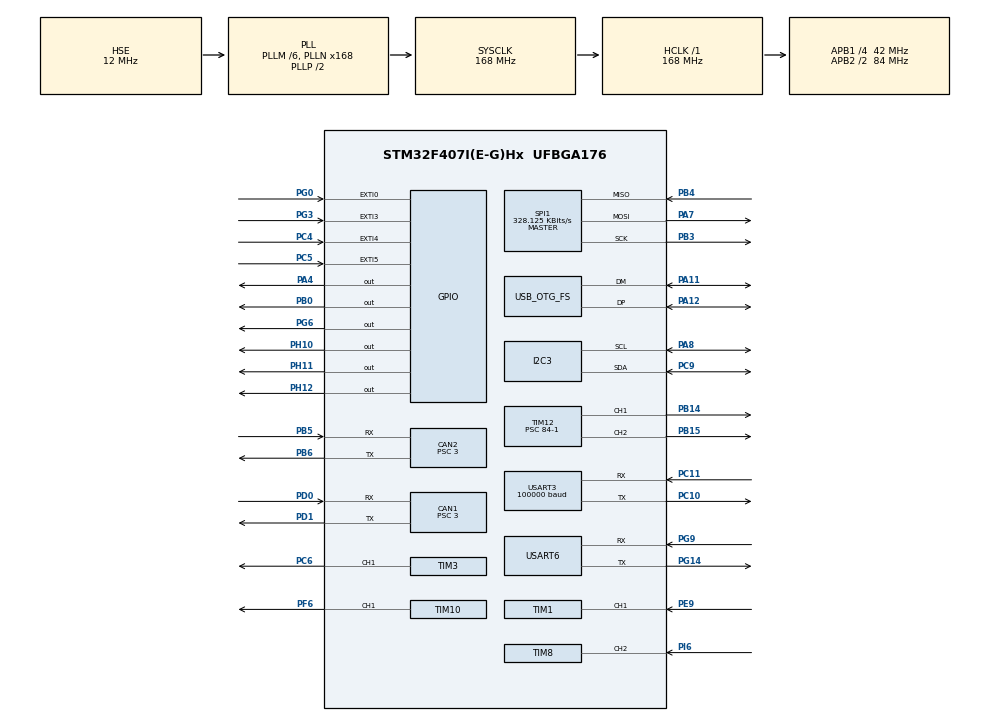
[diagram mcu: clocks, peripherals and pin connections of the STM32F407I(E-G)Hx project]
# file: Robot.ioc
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CAN1.BS1=CAN_BS1_10TQ
CAN1.BS2=CAN_BS2_3TQ
CAN1.CalculateBaudRate=1000000
CAN1.CalculateTimeBit=999.99
CAN1.CalculateTimeQuantum=71.42857142857143
CAN1.Prescaler=3
CAN1.SJW=CAN_SJW_1TQ
CAN2.BS1=CAN_BS1_10TQ
CAN2.BS2=CAN_BS2_3TQ
CAN2.CalculateBaudRate=1000000
CAN2.CalculateTimeBit=999.99
CAN2.CalculateTimeQuantum=71.42857142857143
CAN2.Prescaler=3
Dma.Request0=SPI1_RX
Dma.Request1=SPI1_TX
Dma.Request2=USART3_RX
Dma.Request3=USART6_RX
Dma.Request4=USART6_TX
Dma.SPI1_RX.0.Direction=DMA_PERIPH_TO_MEMORY
Dma.SPI1_RX.0.FIFOMode=DMA_FIFOMODE_DISABLE
Dma.SPI1_RX.0.Instance=DMA2_Stream2
Dma.SPI1_RX.0.MemDataAlignment=DMA_MDATAALIGN_BYTE
Dma.SPI1_RX.0.MemInc=DMA_MINC_ENABLE
Dma.SPI1_RX.0.Mode=DMA_NORMAL
Dma.SPI1_RX.0.PeriphDataAlignment=DMA_PDATAALIGN_BYTE
Dma.SPI1_RX.0.PeriphInc=DMA_PINC_DISABLE
Dma.SPI1_RX.0.Priority=DMA_PRIORITY_VERY_HIGH
Dma.SPI1_TX.1.Direction=DMA_MEMORY_TO_PERIPH
Dma.SPI1_TX.1.FIFOMode=DMA_FIFOMODE_DISABLE
Dma.SPI1_TX.1.Instance=DMA2_Stream3
Dma.SPI1_TX.1.MemDataAlignment=DMA_MDATAALIGN_BYTE
Dma.SPI1_TX.1.MemInc=DMA_MINC_ENABLE
Dma.SPI1_TX.1.Mode=DMA_NORMAL
Dma.SPI1_TX.1.PeriphDataAlignment=DMA_PDATAALIGN_BYTE
Dma.SPI1_TX.1.PeriphInc=DMA_PINC_DISABLE
Dma.SPI1_TX.1.Priority=DMA_PRIORITY_HIGH
Dma.USART3_RX.2.Direction=DMA_PERIPH_TO_MEMORY
Dma.USART3_RX.2.FIFOMode=DMA_FIFOMODE_DISABLE
Dma.USART3_RX.2.Instance=DMA1_Stream1
Dma.USART3_RX.2.MemDataAlignment=DMA_MDATAALIGN_BYTE
Dma.USART3_RX.2.MemInc=DMA_MINC_ENABLE
Dma.USART3_RX.2.Mode=DMA_NORMAL
Dma.USART3_RX.2.PeriphDataAlignment=DMA_PDATAALIGN_BYTE
Dma.USART3_RX.2.PeriphInc=DMA_PINC_DISABLE
Dma.USART3_RX.2.Priority=DMA_PRIORITY_LOW
Dma.USART6_RX.3.Direction=DMA_PERIPH_TO_MEMORY
Dma.USART6_RX.3.FIFOMode=DMA_FIFOMODE_DISABLE
Dma.USART6_RX.3.Instance=DMA2_Stream1
Dma.USART6_RX.3.MemDataAlignment=DMA_MDATAALIGN_BYTE
Dma.USART6_RX.3.MemInc=DMA_MINC_ENABLE
Dma.USART6_RX.3.Mode=DMA_NORMAL
Dma.USART6_RX.3.PeriphDataAlignment=DMA_PDATAALIGN_BYTE
Dma.USART6_RX.3.PeriphInc=DMA_PINC_DISABLE
Dma.USART6_RX.3.Priority=DMA_PRIORITY_HIGH
Dma.USART6_TX.4.Direction=DMA_MEMORY_TO_PERIPH
Dma.USART6_TX.4.FIFOMode=DMA_FIFOMODE_DISABLE
Dma.USART6_TX.4.Instance=DMA2_Stream6
Dma.USART6_TX.4.MemDataAlignment=DMA_MDATAALIGN_BYTE
Dma.USART6_TX.4.MemInc=DMA_MINC_ENABLE
Dma.USART6_TX.4.Mode=DMA_NORMAL
Dma.USART6_TX.4.PeriphDataAlignment=DMA_PDATAALIGN_BYTE
Dma.USART6_TX.4.PeriphInc=DMA_PINC_DISABLE
Dma.USART6_TX.4.Priority=DMA_PRIORITY_LOW
FREERTOS.INCLUDE_eTaskGetState=1
FREERTOS.INCLUDE_pcTaskGetTaskName=1
FREERTOS.INCLUDE_uxTaskGetStackHighWaterMark=1
FREERTOS.INCLUDE_vTaskCleanUpResources=1
FREERTOS.INCLUDE_vTaskDelayUntil=1
FREERTOS.INCLUDE_xEventGroupSetBitFromISR=1
FREERTOS.INCLUDE_xQueueGetMutexHolder=1
FREERTOS.INCLUDE_xSemaphoreGetMutexHolder=1
FREERTOS.INCLUDE_xTaskAbortDelay=1
FREERTOS.INCLUDE_xTaskGetCurrentTaskHandle=1
FREERTOS.INCLUDE_xTaskGetHandle=1
FREERTOS.INCLUDE_xTimerPendFunctionCall=1
FREERTOS.Tasks01=INS_TASK,3,2560,INS_Task,As weak,NULL,Dynamic,NULL,NULL;LED_TASK,0,128,LED_Task,As weak,NULL,Dynamic,NULL,NULL;Chassis_TASK,1,512,Chassis_Task,As weak,NULL,Dynamic,NULL,NULL;Gimbal_TASK,2,512,Gimbal_Task,As weak,NULL,Dynamic,NULL,NULL;Shoot_TASK,0,512,Shoot_Task,As weak,NULL,Dynamic,NULL,NULL
FREERTOS.configTOTAL_HEAP_SIZE=24576
FREERTOS.configUSE_TIMERS=1
I2C3.I2C_Mode=I2C_Fast
Mcu.Family=STM32F4
Mcu.Name=STM32F407I(E-G)Hx
Mcu.Package=UFBGA176
NVIC.CAN1_RX0_IRQn=true\:5\:0\:false\:false\:true\:true\:true\:true
NVIC.CAN2_RX0_IRQn=true\:5\:0\:false\:false\:true\:true\:true\:true
NVIC.DMA1_Stream1_IRQn=true\:5\:0\:false\:false\:true\:true\:false\:true
NVIC.DMA2_Stream1_IRQn=true\:5\:0\:false\:false\:true\:true\:false\:true
NVIC.DMA2_Stream2_IRQn=true\:5\:0\:false\:false\:true\:true\:false\:true
NVIC.DMA2_Stream3_IRQn=true\:5\:0\:false\:false\:true\:true\:false\:true
NVIC.DMA2_Stream6_IRQn=true\:5\:0\:false\:false\:true\:true\:false\:true
NVIC.EXTI0_IRQn=true\:5\:0\:false\:false\:true\:true\:true\:true
NVIC.EXTI3_IRQn=true\:5\:0\:false\:false\:true\:true\:true\:true
NVIC.EXTI4_IRQn=true\:5\:0\:false\:false\:true\:true\:true\:true
NVIC.EXTI9_5_IRQn=true\:5\:0\:false\:false\:true\:true\:true\:true
NVIC.OTG_FS_IRQn=true\:5\:0\:false\:false\:true\:true\:false\:true
NVIC.PriorityGroup=NVIC_PRIORITYGROUP_4
NVIC.TIM2_IRQn=true\:15\:0\:false\:false\:true\:false\:false\:true
NVIC.TIM8_TRG_COM_TIM14_IRQn=true\:5\:0\:false\:false\:true\:true\:true\:true
NVIC.TimeBase=TIM2_IRQn
NVIC.TimeBaseIP=TIM2
NVIC.USART3_IRQn=true\:5\:0\:false\:false\:true\:true\:true\:true
NVIC.USART6_IRQn=true\:5\:0\:false\:false\:true\:true\:true\:true
PA11.Mode=Device_Only
PA11.Signal=USB_OTG_FS_DM
PA12.Mode=Device_Only
PA12.Signal=USB_OTG_FS_DP
PA13.Mode=Serial_Wire
PA13.Signal=SYS_JTMS-SWDIO
PA14.Mode=Serial_Wire
PA14.Signal=SYS_JTCK-SWCLK
PA4.GPIO_PuPd=GPIO_PULLUP
PA4.GPIO_Speed=GPIO_SPEED_FREQ_HIGH
PA4.PinState=GPIO_PIN_SET
PA4.Signal=GPIO_Output
PA7.GPIO_Mode=GPIO_MODE_AF_PP
PA7.GPIO_PuPd=GPIO_PULLUP
PA7.GPIO_Speed=GPIO_SPEED_FREQ_VERY_HIGH
PA7.Mode=Full_Duplex_Master
PA7.Signal=SPI1_MOSI
PA8.GPIO_Mode=GPIO_MODE_AF_OD
PA8.GPIO_Pu=GPIO_PULLUP
PA8.GPIO_Speed=GPIO_SPEED_FREQ_VERY_HIGH
PA8.Mode=I2C
PA8.Signal=I2C3_SCL
PB0.GPIO_ModeDefaultOutputPP=GPIO_MODE_OUTPUT_PP
PB0.GPIO_PuPd=GPIO_PULLUP
PB0.GPIO_Speed=GPIO_SPEED_FREQ_HIGH
PB0.PinState=GPIO_PIN_SET
PB0.Signal=GPIO_Output
PB14.GPIO_ModeDefaultPP=GPIO_MODE_AF_PP
PB14.GPIO_PuPd=GPIO_PULLUP
PB14.GPIO_Speed=GPIO_SPEED_FREQ_VERY_HIGH
PB14.Signal=S_TIM12_CH1
PB15.GPIO_ModeDefaultPP=GPIO_MODE_AF_PP
PB15.GPIO_PuPd=GPIO_PULLUP
PB15.GPIO_Speed=GPIO_SPEED_FREQ_VERY_HIGH
PB15.Signal=S_TIM12_CH2
PB3.GPIO_Mode=GPIO_MODE_AF_PP
PB3.GPIO_PuPd=GPIO_PULLUP
PB3.GPIO_Speed=GPIO_SPEED_FREQ_VERY_HIGH
PB3.Mode=Full_Duplex_Master
PB3.Signal=SPI1_SCK
PB4.GPIO_Mode=GPIO_MODE_AF_PP
PB4.GPIO_PuPd=GPIO_PULLUP
PB4.GPIO_Speed=GPIO_SPEED_FREQ_VERY_HIGH
PB4.Mode=Full_Duplex_Master
PB4.Signal=SPI1_MISO
PB5.Mode=CAN_Activate
PB5.Signal=CAN2_RX
PB6.Mode=CAN_Activate
PB6.Signal=CAN2_TX
PC10.GPIO_ModeDefaultPP=GPIO_MODE_AF_PP
PC10.GPIO_PuPd=GPIO_PULLUP
PC10.GPIO_Speed=GPIO_SPEED_FREQ_VERY_HIGH
PC10.Mode=Asynchronous
PC10.Signal=USART3_TX
PC11.GPIO_ModeDefaultPP=GPIO_MODE_AF_PP
PC11.GPIO_PuPd=GPIO_PULLUP
PC11.GPIO_Speed=GPIO_SPEED_FREQ_VERY_HIGH
PC11.Mode=Asynchronous
PC11.Signal=USART3_RX
PC4.GPIO_ModeDefaultEXTI=GPIO_MODE_IT_FALLING
PC4.GPIO_PuPd=GPIO_PULLUP
PC4.Signal=GPXTI4
PC5.GPIO_ModeDefaultEXTI=GPIO_MODE_IT_FALLING
PC5.GPIO_PuPd=GPIO_PULLUP
PC5.Signal=GPXTI5
PC6.GPIO_ModeDefaultPP=GPIO_MODE_AF_PP
PC6.GPIO_PuPd=GPIO_PULLUP
PC6.GPIO_Speed=GPIO_SPEED_FREQ_VERY_HIGH
PC6.Signal=S_TIM3_CH1
PC9.GPIO_Mode=GPIO_MODE_AF_OD
PC9.GPIO_Pu=GPIO_PULLUP
PC9.GPIO_Speed=GPIO_SPEED_FREQ_VERY_HIGH
PC9.Mode=I2C
PC9.Signal=I2C3_SDA
PD0.Mode=CAN_Activate
PD0.Signal=CAN1_RX
PD1.Mode=CAN_Activate
PD1.Signal=CAN1_TX
PE11.GPIO_ModeDefaultPP=GPIO_MODE_AF_PP
PE11.GPIO_PuPd=GPIO_PULLUP
PE11.GPIO_Speed=GPIO_SPEED_FREQ_VERY_HIGH
PE11.Signal=S_TIM1_CH2
PE9.GPIO_PuPd=GPIO_PULLUP
PE9.GPIO_Speed=GPIO_SPEED_FREQ_VERY_HIGH
PE9.Signal=S_TIM1_CH1
PF6.GPIO_PuPd=GPIO_PULLUP
PF6.GPIO_Speed=GPIO_SPEED_FREQ_VERY_HIGH
PF6.Signal=S_TIM10_CH1
PG0.GPIO_ModeDefaultEXTI=GPIO_MODE_IT_FALLING
PG0.GPIO_PuPd=GPIO_PULLUP
PG0.Signal=GPXTI0
PG14.GPIO_ModeDefaultPP=GPIO_MODE_AF_PP
PG14.GPIO_PuPd=GPIO_PULLUP
PG14.GPIO_Speed=GPIO_SPEED_FREQ_VERY_HIGH
PG14.Mode=Asynchronous
PG14.Signal=USART6_TX
PG3.GPIO_ModeDefaultEXTI=GPIO_MODE_IT_FALLING
PG3.GPIO_PuPd=GPIO_PULLUP
PG3.Signal=GPXTI3
PG6.GPIO_ModeDefaultOutputPP=GPIO_MODE_OUTPUT_PP
PG6.GPIO_PuPd=GPIO_PULLUP
PG6.GPIO_Speed=GPIO_SPEED_FREQ_HIGH
PG6.PinState=GPIO_PIN_SET
PG6.Signal=GPIO_Output
PG9.GPIO_ModeDefaultPP=GPIO_MODE_AF_PP
PG9.GPIO_PuPd=GPIO_PULLUP
PG9.GPIO_Speed=GPIO_SPEED_FREQ_VERY_HIGH
PG9.Mode=Asynchronous
PG9.Signal=USART6_RX
PH0-OSC_IN.Mode=HSE-External-Oscillator
PH0-OSC_IN.Signal=RCC_OSC_IN
PH1-OSC_OUT.Mode=HSE-External-Oscillator
PH1-OSC_OUT.Signal=RCC_OSC_OUT
PH10.GPIO_ModeDefaultOutputPP=GPIO_MODE_OUTPUT_PP
PH10.GPIO_PuPd=GPIO_PULLDOWN
PH10.GPIO_Speed=GPIO_SPEED_FREQ_VERY_HIGH
PH10.PinState=GPIO_PIN_RESET
PH10.Signal=GPIO_Output
PH11.GPIO_ModeDefaultOutputPP=GPIO_MODE_OUTPUT_PP
PH11.GPIO_PuPd=GPIO_PULLDOWN
PH11.GPIO_Speed=GPIO_SPEED_FREQ_VERY_HIGH
PH11.PinState=GPIO_PIN_RESET
PH11.Signal=GPIO_Output
PH12.GPIO_ModeDefaultOutputPP=GPIO_MODE_OUTPUT_PP
PH12.GPIO_PuPd=GPIO_PULLDOWN
PH12.GPIO_Speed=GPIO_SPEED_FREQ_VERY_HIGH
PH12.PinState=GPIO_PIN_RESET
PH12.Signal=GPIO_Output
PI6.GPIO_PuPd=GPIO_PULLUP
PI6.GPIO_Speed=GPIO_SPEED_FREQ_VERY_HIGH
PI6.Signal=S_TIM8_CH2
ProjectManager.HeapSize=0x2000
ProjectManager.StackSize=0x2000
ProjectManager.TargetToolchain=MDK-ARM V5
RCC.48MHZClocksFreq_Value=48000000
RCC.AHBFreq_Value=168000000
RCC.APB1CLKDivider=RCC_HCLK_DIV4
RCC.APB1Freq_Value=42000000
RCC.APB1TimFreq_Value=84000000
RCC.APB2CLKDivider=RCC_HCLK_DIV2
RCC.APB2Freq_Value=84000000
RCC.APB2TimFreq_Value=168000000
RCC.CortexFreq_Value=168000000
RCC.HCLKFreq_Value=168000000
RCC.HSE_VALUE=12000000
RCC.HSI_VALUE=16000000
RCC.LSE_VALUE=32768
RCC.PLLM=6
RCC.PLLN=168
RCC.PLLQ=7
RCC.SYSCLKFreq_VALUE=168000000
RCC.SYSCLKSource=RCC_SYSCLKSOURCE_PLLCLK
RCC.VCOOutputFreq_Value=336000000
SH.S_TIM10_CH1.0=TIM10_CH1,PWM Generation1 CH1
SH.S_TIM12_CH1.0=TIM12_CH1,PWM Generation1 CH1
SH.S_TIM12_CH2.0=TIM12_CH2,PWM Generation2 CH2
SH.S_TIM1_CH1.0=TIM1_CH1,TriggerSource_TI1FP1
SH.S_TIM1_CH2.0=TIM1_CH2
SH.S_TIM3_CH1.0=TIM3_CH1,PWM Generation1 CH1
SH.S_TIM8_CH2.0=TIM8_CH2,TriggerSource_TI2FP2
SPI1.BaudRatePrescaler=SPI_BAUDRATEPRESCALER_256
SPI1.CLKPhase=SPI_PHASE_2EDGE
SPI1.CLKPolarity=SPI_POLARITY_HIGH
SPI1.CalculateBaudRate=328.125 KBits/s
SPI1.Direction=SPI_DIRECTION_2LINES
SPI1.Mode=SPI_MODE_MASTER
SPI1.VirtualType=VM_MASTER
TIM10.Channel=TIM_CHANNEL_1
TIM10.Period=4999
TIM12.Channel-PWM\ Generation1\ CH1=TIM_CHANNEL_1
TIM12.Channel-PWM\ Generation2\ CH2=TIM_CHANNEL_2
TIM12.Period=20000-1
TIM12.Prescaler=84-1
TIM14.Period=2000-1
TIM14.Prescaler=84-1
TIM3.Channel-PWM\ Generation1\ CH1=TIM_CHANNEL_1
TIM3.Period=20000-1
TIM3.Prescaler=84-1
USART3.BaudRate=100000
USART3.VirtualMode=VM_ASYNC
USART6.VirtualMode=VM_ASYNC
USB_DEVICE.CLASS_NAME_FS=CDC
USB_DEVICE.VirtualMode-CDC_FS=Cdc
USB_DEVICE.VirtualModeFS=Cdc_FS
USB_OTG_FS.VirtualMode=Device_Only
VP_FREERTOS_VS_CMSIS_V1.Mode=CMSIS_V1
VP_SYS_VS_tim2.Mode=TIM2
VP_TIM10_VS_ClockSourceINT.Mode=Enable_Timer
VP_TIM12_VS_ClockSourceINT.Mode=Internal
VP_TIM14_VS_ClockSourceINT.Mode=Enable_Timer
VP_TIM1_VS_ControllerModeClock.Mode=Clock Mode
VP_TIM3_VS_ClockSourceINT.Mode=Internal
VP_TIM8_VS_ControllerModeClock.Mode=Clock Mode
VP_USB_DEVICE_VS_USB_DEVICE_CDC_FS.Mode=CDC_FS
board=custom

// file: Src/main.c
/* USER CODE BEGIN Header */
/**
  ******************************************************************************
  * @file           : main.c
  * @brief          : Main program body
  ******************************************************************************
  * @attention
  *
  * <h2><center>&copy; Copyright (c) 2021 STMicroelectronics.
  * All rights reserved.</center></h2>
  *
  * This software component is licensed by ST under Ultimate Liberty license
  * SLA0044, the "License"; You may not use this file except in compliance with
  * the License. You may obtain a copy of the License at:
  *                             www.st.com/SLA0044
  *
  ******************************************************************************
  */
/* USER CODE END Header */
#include "main.h"
#include "cmsis_os.h"
#include "can.h"
#include "dma.h"
#include "i2c.h"
#include "spi.h"
#include "tim.h"
#include "usart.h"
#include "usb_device.h"
#include "gpio.h"

/* USER CODE BEGIN Includes */
#include "bsp_delay.h"
#include "remote_control.h"
#include "bsp_can.h"
#include "bsp_tim.h"
#include "auto_aim.h"
/* USER CODE END Includes */

void SystemClock_Config(void);
void MX_FREERTOS_Init(void);

int main(void)
{

  /* MCU Configuration--------------------------------------------------------*/

  /* Reset of all peripherals, Initializes the Flash interface and the Systick. */
  HAL_Init();

  /* Configure the system clock */
  SystemClock_Config();

  /* Initialize all configured peripherals */
  MX_GPIO_Init();
  MX_DMA_Init();
  MX_I2C3_Init();
  MX_SPI1_Init();
  MX_TIM10_Init();
  MX_USART3_UART_Init();
  MX_CAN1_Init();
  MX_CAN2_Init();
  MX_TIM1_Init();
  MX_TIM3_Init();
  MX_TIM8_Init();
  MX_TIM12_Init();
  MX_TIM14_Init();
  MX_USART6_UART_Init();
  /* USER CODE BEGIN 2 */
	MX_USB_DEVICE_Init();
	HAL_TIM_Base_Start(&htim1);
	HAL_TIM_Base_Start(&htim8);
	HAL_TIM_Base_Start_IT(&htim14);
	HAL_TIM_PWM_Start(&htim3, TIM_CHANNEL_1);
	HAL_TIM_PWM_Start(&htim10, TIM_CHANNEL_1);
	HAL_TIM_PWM_Start(&htim12, TIM_CHANNEL_1);
	HAL_TIM_PWM_Start(&htim12, TIM_CHANNEL_2);

	can_filter_init();
	delay_init();
	remote_control_init();
	Auto_Aim_Init();

  /* USER CODE END 2 */

  /* Call init function for freertos objects (in freertos.c) */
  MX_FREERTOS_Init();
  /* Start scheduler */
  osKernelStart();

  /* We should never get here as control is now taken by the scheduler */
  /* Infinite loop */
  while (1)
  {

  }
}

void SystemClock_Config(void)
{
  RCC_OscInitTypeDef RCC_OscInitStruct = {0};
  RCC_ClkInitTypeDef RCC_ClkInitStruct = {0};

  /** Configure the main internal regulator output voltage
  */
  __HAL_RCC_PWR_CLK_ENABLE();
  __HAL_PWR_VOLTAGESCALING_CONFIG(PWR_REGULATOR_VOLTAGE_SCALE1);
  /** Initializes the RCC Oscillators according to the specified parameters
  * in the RCC_OscInitTypeDef structure.
  */
  RCC_OscInitStruct.OscillatorType = RCC_OSCILLATORTYPE_HSE;
  RCC_OscInitStruct.HSEState = RCC_HSE_ON;
  RCC_OscInitStruct.PLL.PLLState = RCC_PLL_ON;
  RCC_OscInitStruct.PLL.PLLSource = RCC_PLLSOURCE_HSE;
  RCC_OscInitStruct.PLL.PLLM = 6;
  RCC_OscInitStruct.PLL.PLLN = 168;
  RCC_OscInitStruct.PLL.PLLP = RCC_PLLP_DIV2;
  RCC_OscInitStruct.PLL.PLLQ = 7;
  if (HAL_RCC_OscConfig(&RCC_OscInitStruct) != HAL_OK)
  {
    Error_Handler();
  }
  /** Initializes the CPU, AHB and APB buses clocks
  */
  RCC_ClkInitStruct.ClockType = RCC_CLOCKTYPE_HCLK|RCC_CLOCKTYPE_SYSCLK
                              |RCC_CLOCKTYPE_PCLK1|RCC_CLOCKTYPE_PCLK2;
  RCC_ClkInitStruct.SYSCLKSource = RCC_SYSCLKSOURCE_PLLCLK;
  RCC_ClkInitStruct.AHBCLKDivider = RCC_SYSCLK_DIV1;
  RCC_ClkInitStruct.APB1CLKDivider = RCC_HCLK_DIV4;
  RCC_ClkInitStruct.APB2CLKDivider = RCC_HCLK_DIV2;

  if (HAL_RCC_ClockConfig(&RCC_ClkInitStruct, FLASH_LATENCY_5) != HAL_OK)
  {
    Error_Handler();
  }
}

void HAL_TIM_PeriodElapsedCallback(TIM_HandleTypeDef *htim)
{
  if (htim->Instance == TIM2) {
    HAL_IncTick();
  }
  /* USER CODE BEGIN Callback 1 */
	else if(htim->Instance==TIM14)
	{
		encoder_solve();
	}
  /* USER CODE END Callback 1 */
}

void Error_Handler(void)
{
  __disable_irq();
  while (1)
  {
  }
}

/************************ (C) COPYRIGHT STMicroelectronics *****END OF FILE****/

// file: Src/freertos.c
/* USER CODE BEGIN Header */
/**
  ******************************************************************************
  * File Name          : freertos.c
  * Description        : Code for freertos applications
  ******************************************************************************
  * @attention
  *
  * <h2><center>&copy; Copyright (c) 2021 STMicroelectronics.
  * All rights reserved.</center></h2>
  *
  * This software component is licensed by ST under Ultimate Liberty license
  * SLA0044, the "License"; You may not use this file except in compliance with
  * the License. You may obtain a copy of the License at:
  *                             www.st.com/SLA0044
  *
  ******************************************************************************
  */
/* USER CODE END Header */

#include "FreeRTOS.h"
#include "task.h"
#include "main.h"
#include "cmsis_os.h"

/* USER CODE BEGIN Includes */
#include "INS_task.h"
#include "LED_Task.h"
#include "Chassis_Task.h"
#include "Gimbal_Task.h"
#include "Shoot_Task.h"
/* USER CODE END Includes */

osThreadId INS_TASKHandle;
osThreadId LED_TASKHandle;
osThreadId Chassis_TASKHandle;
osThreadId Gimbal_TASKHandle;
osThreadId Shoot_TASKHandle;

void INS_Task(void const * argument);
void LED_Task(void const * argument);
void Chassis_Task(void const * argument);
void Gimbal_Task(void const * argument);
void Shoot_Task(void const * argument);

extern void MX_USB_DEVICE_Init(void);
void MX_FREERTOS_Init(void); /* (MISRA C 2004 rule 8.1) */

/* GetIdleTaskMemory prototype (linked to static allocation support) */
void vApplicationGetIdleTaskMemory( StaticTask_t **ppxIdleTaskTCBBuffer, StackType_t **ppxIdleTaskStackBuffer, uint32_t *pulIdleTaskStackSize );

/* GetTimerTaskMemory prototype (linked to static allocation support) */
void vApplicationGetTimerTaskMemory( StaticTask_t **ppxTimerTaskTCBBuffer, StackType_t **ppxTimerTaskStackBuffer, uint32_t *pulTimerTaskStackSize );

/* USER CODE BEGIN GET_IDLE_TASK_MEMORY */
static StaticTask_t xIdleTaskTCBBuffer;
static StackType_t xIdleStack[configMINIMAL_STACK_SIZE];

void vApplicationGetIdleTaskMemory( StaticTask_t **ppxIdleTaskTCBBuffer, StackType_t **ppxIdleTaskStackBuffer, uint32_t *pulIdleTaskStackSize )
{
  *ppxIdleTaskTCBBuffer = &xIdleTaskTCBBuffer;
  *ppxIdleTaskStackBuffer = &xIdleStack[0];
  *pulIdleTaskStackSize = configMINIMAL_STACK_SIZE;
  /* place for user code */
}
/* USER CODE END GET_IDLE_TASK_MEMORY */

/* USER CODE BEGIN GET_TIMER_TASK_MEMORY */
static StaticTask_t xTimerTaskTCBBuffer;
static StackType_t xTimerStack[configTIMER_TASK_STACK_DEPTH];

void vApplicationGetTimerTaskMemory( StaticTask_t **ppxTimerTaskTCBBuffer, StackType_t **ppxTimerTaskStackBuffer, uint32_t *pulTimerTaskStackSize )
{
  *ppxTimerTaskTCBBuffer = &xTimerTaskTCBBuffer;
  *ppxTimerTaskStackBuffer = &xTimerStack[0];
  *pulTimerTaskStackSize = configTIMER_TASK_STACK_DEPTH;
  /* place for user code */
}
/* USER CODE END GET_TIMER_TASK_MEMORY */

void MX_FREERTOS_Init(void) {

  /* Create the thread(s) */
  /* definition and creation of INS_TASK */
  osThreadDef(INS_TASK, INS_Task, osPriorityRealtime, 0, 2560);
  INS_TASKHandle = osThreadCreate(osThread(INS_TASK), NULL);

  /* definition and creation of LED_TASK */
  osThreadDef(LED_TASK, LED_Task, osPriorityNormal, 0, 128);
  LED_TASKHandle = osThreadCreate(osThread(LED_TASK), NULL);

  /* definition and creation of Chassis_TASK */
  osThreadDef(Chassis_TASK, Chassis_Task, osPriorityAboveNormal, 0, 512);
  Chassis_TASKHandle = osThreadCreate(osThread(Chassis_TASK), NULL);

  /* definition and creation of Gimbal_TASK */
  osThreadDef(Gimbal_TASK, Gimbal_Task, osPriorityHigh, 0, 512);
  Gimbal_TASKHandle = osThreadCreate(osThread(Gimbal_TASK), NULL);

  /* definition and creation of Shoot_TASK */
  osThreadDef(Shoot_TASK, Shoot_Task, osPriorityNormal, 0, 512);
  Shoot_TASKHandle = osThreadCreate(osThread(Shoot_TASK), NULL);

}

__weak void INS_Task(void const * argument)
{
  /* init code for USB_DEVICE */
  MX_USB_DEVICE_Init();
  for(;;)
  {
    osDelay(1);
  }
}

__weak void LED_Task(void const * argument)
{
  /* USER CODE BEGIN LED_Task */
  /* Infinite loop */
  for(;;)
  {
    vTaskDelay(2);
  }
  /* USER CODE END LED_Task */
}

__weak void Chassis_Task(void const * argument)
{
  for(;;)
  {
    osDelay(1);
  }
}

__weak void Gimbal_Task(void const * argument)
{
  for(;;)
  {
    osDelay(1);
  }
}

__weak void Shoot_Task(void const * argument)
{
  for(;;)
  {
    osDelay(1);
  }
}

/************************ (C) COPYRIGHT STMicroelectronics *****END OF FILE****/
